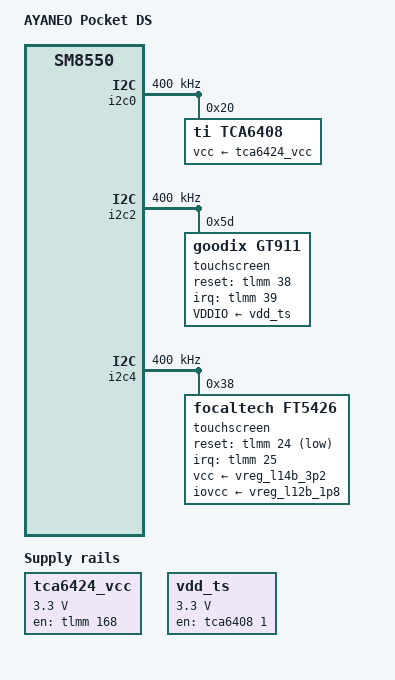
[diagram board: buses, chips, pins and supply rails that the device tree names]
// SPDX-License-Identifier: BSD-3-Clause
/*
 * Copyright (c) 2025, Teguh Sobirin.
 * Copyright (c) 2025, ROCKNIX (https://github.com/ROCKNIX)
 */

/dts-v1/;

#include "qcs8550-ayaneo-pocket-common.dtsi"

/ {
	model = "AYANEO Pocket DS";
	compatible = "ayaneo,pocketds", "qcom,sm8550";
	rocknix-u-boot-dt-id = "u-boot-pocket-ds";

	tca6424_vcc: regulator-tca6424-vcc {
		compatible = "regulator-fixed";
		regulator-name = "tca6424_vcc";

		regulator-min-microvolt = <3300000>;
		regulator-max-microvolt = <3300000>;

		gpio = <&tlmm 168 GPIO_ACTIVE_HIGH>;
		enable-active-high;
		regulator-boot-on;
		regulator-state-mem {
			regulator-off-in-suspend;
		};
	};

	vdd_ts: vdd-ts {
		compatible = "regulator-fixed";
		regulator-name = "vdd_ts_en";
		regulator-min-microvolt = <3300000>;
		regulator-max-microvolt = <3300000>;
		gpio = <&tca6408 1 GPIO_ACTIVE_HIGH>;
		enable-active-high;
	};

};

&tlmm {
	gpio-reserved-ranges = <32 4>;
	panel_pwr_active: panel-pwr-active-state {
		pins = "gpio152", "gpio153";
		function = "gpio";
		drive-strength = <8>;
		bias-disable;
		output-high;
	};

	sde_dsi1_active: sde-dsi1-active-state {
		pins = "gpio137";
		function = "gpio";
		drive-strength = <8>;
		bias-disable;
		output-high;
	};

	sde_dsi1_suspend: sde-dsi1-suspend-state {
		pins = "gpio137";
		function = "gpio";
		drive-strength = <2>;
		bias-pull-down;
	};

	ts_rst_default: ts-rst-default-state {
		pins = "gpio24";
		function = "gpio";
		bias-pull-up;
		drive-strength = <8>;
	};

	ts_rst_sleep: ts-rst-sleep-state {
		pins = "gpio24";
		function = "gpio";
		bias-pull-down;
		drive-strength = <2>;
	};

	ts_int_default: ts-int-default-state {
		pins = "gpio25";
		function = "gpio";
		bias-pull-up;
		drive-strength = <8>;
	};

	ts_int_sleep: ts-int-sleep-state {
		pins = "gpio25";
		function = "gpio";
		bias-pull-down;
		drive-strength = <2>;
	};

	ts2_irq: ts2-irq-state {
		pins = "gpio39";
		function = "gpio";
		drive-strength = <8>;
		bias-disable;
	};

	ts2_reset: ts2-reset-state {
		pins = "gpio38";
		function = "gpio";
		drive-strength = <8>;
		bias-pull-down;
	};
};

&i2c0 {
	clock-frequency = <400000>;
	status = "okay";

	tca6408: tca64_20@20 {
		gpio-controller;
		compatible = "ti,tca6408";
		status = "okay";
		reg = <0x20>;
		#gpio-cells = <0x02>;
		vcc-supply = <&tca6424_vcc>;
	};
};

&i2c2 {
	clock-frequency = <400000>;
	status = "okay";

	touchscreen@5d {
		reg = <0x5d>;
		compatible = "goodix,gt911";

		interrupt-parent = <&tlmm>;
		interrupts = <39 IRQ_TYPE_EDGE_FALLING>;

		reset-gpios = <&tlmm 38 GPIO_ACTIVE_HIGH>;
		irq-gpios = <&tlmm 39 GPIO_ACTIVE_HIGH>;
		VDDIO-supply = <&vdd_ts>;

		touchscreen-size-x = <768>;
		touchscreen-size-y = <1024>;

		pinctrl-names = "default";
		pinctrl-0 = <&ts2_reset>, <&ts2_irq>;

	};
};

&i2c4 {
	clock-frequency = <400000>;
	status = "okay";
	touchscreen: touchscreen@38 {
		compatible = "focaltech,ft5426";
		reg = <0x38>;

		interrupt-parent = <&tlmm>;
		interrupts = <25 IRQ_TYPE_EDGE_FALLING>;

		reset-gpios = <&tlmm 24 GPIO_ACTIVE_LOW>;

		vcc-supply = <&vreg_l14b_3p2>;
		iovcc-supply = <&vreg_l12b_1p8>;

		pinctrl-0 = <&ts_int_default &ts_rst_default>;
		pinctrl-1 = <&ts_int_sleep &ts_rst_sleep>;
		pinctrl-names = "default", "sleep";

		touchscreen-size-x = <1080>;
		touchscreen-size-y = <1920>;
	};
};
